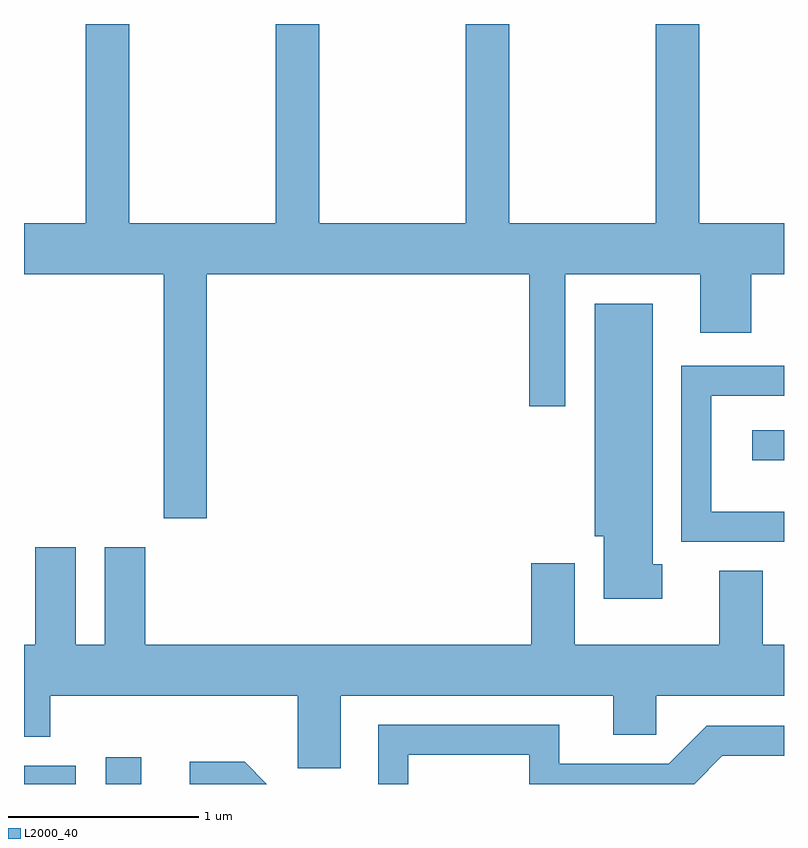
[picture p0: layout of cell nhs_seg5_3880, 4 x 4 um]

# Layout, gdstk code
import gdstk
lib = gdstk.Library(unit=1e-6, precision=1e-09)
def R(c, l, rs):  # rectangles x0, y0, x1, y1
    for r in rs: c.add(gdstk.rectangle(r[:2], r[2:], *l))
def P(c, l, *ps):  # polygons
    for p in ps: c.add(gdstk.Polygon(p, *l))
L2000_40 = (2000, 40)

nhs_seg5_3880 = lib.new_cell('nhs_seg5_3880')
R(nhs_seg5_3880, L2000_40, [(299.611,1494.072,299.884,1494.169), (300.041,1494.072,300.229,1494.214), (303.443,1495.776,303.611,1495.934)])
P(nhs_seg5_3880, L2000_40, [(300.574,1496.756),(302.271,1496.756),(302.271,1496.061),(302.459,1496.061),(302.459,1496.756),(303.171,1496.756),(303.171,1496.446),(303.439,1496.446),(303.439,1496.756),(303.611,1496.756),(303.611,1497.024),(303.164,1497.024),(303.164,1498.072),(302.936,1498.072),(302.936,1497.024),(302.164,1497.024),(302.164,1498.072),(301.936,1498.072),(301.936,1497.024),(301.164,1497.024),(301.164,1498.072),(300.936,1498.072),(300.936,1497.024),(300.164,1497.024),(300.164,1498.072),(299.936,1498.072),(299.936,1497.024),(299.611,1497.024),(299.611,1496.756),(300.346,1496.756),(300.346,1495.471),(300.574,1495.471)],
  [(302.969,1495.229),(302.919,1495.229),(302.919,1496.599),(302.616,1496.599),(302.616,1495.376),(302.661,1495.376),(302.661,1495.046),(302.969,1495.046)],
  [(303.611,1495.504),(303.229,1495.504),(303.229,1496.116),(303.611,1496.116),(303.611,1496.274),(303.071,1496.274),(303.071,1495.346),(303.611,1495.346)],
  [(301.279,1494.536),(302.711,1494.536),(302.711,1494.331),(302.939,1494.331),(302.939,1494.536),(303.611,1494.536),(303.611,1494.804),(303.499,1494.804),(303.499,1495.194),(303.271,1495.194),(303.271,1494.804),(302.509,1494.804),(302.509,1495.234),(302.281,1495.234),(302.281,1494.804),(300.249,1494.804),(300.249,1495.319),(300.036,1495.319),(300.036,1494.804),(299.884,1494.804),(299.884,1495.319),(299.671,1495.319),(299.671,1494.804),(299.611,1494.804),(299.611,1494.321),(299.749,1494.321),(299.749,1494.536),(301.051,1494.536),(301.051,1494.156),(301.279,1494.156)],
  [(301.634,1494.226),(302.271,1494.226),(302.271,1494.072),(303.138,1494.072),(303.287,1494.221),(303.611,1494.221),(303.611,1494.379),(303.204,1494.379),(303.004,1494.179),(302.429,1494.179),(302.429,1494.384),(301.476,1494.384),(301.476,1494.072),(301.634,1494.072)],
  [(300.772,1494.189),(300.483,1494.189),(300.483,1494.072),(300.889,1494.072)])

lib.write_gds('nhs_seg5_3880.gds')
